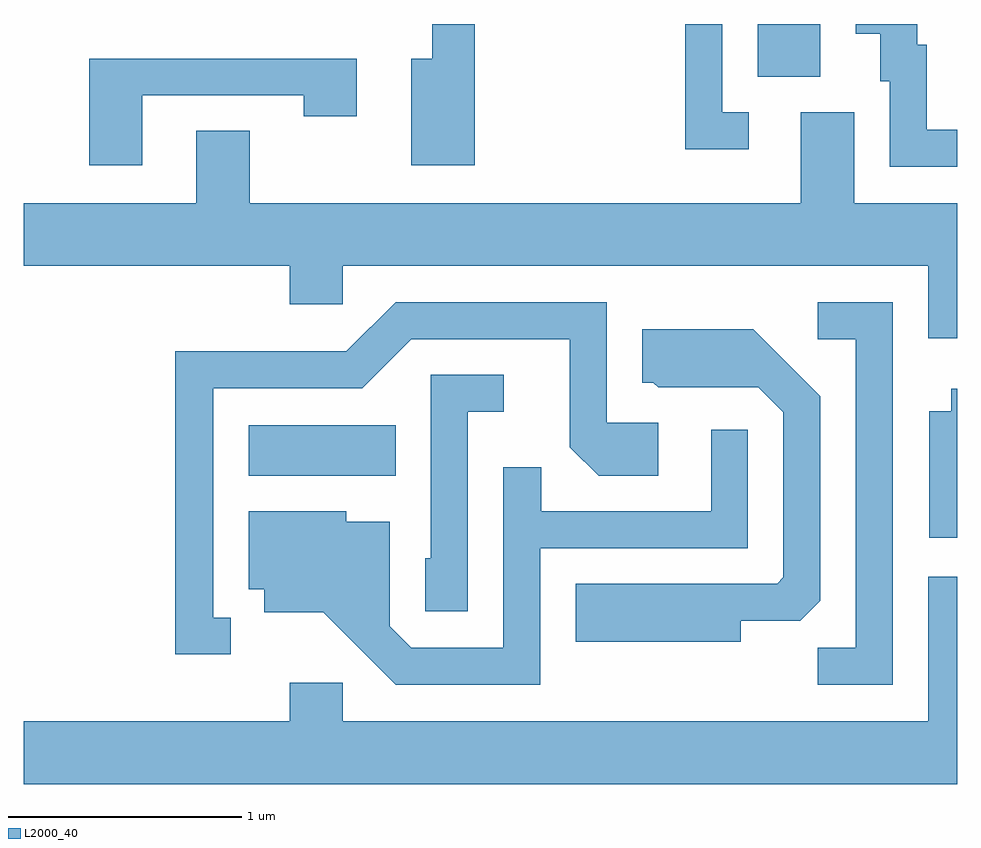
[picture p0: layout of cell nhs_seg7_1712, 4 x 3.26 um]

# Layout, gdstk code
import gdstk
lib = gdstk.Library(unit=1e-6, precision=1e-09)
def R(c, l, rs):  # rectangles x0, y0, x1, y1
    for r in rs: c.add(gdstk.rectangle(r[:2], r[2:], *l))
def P(c, l, *ps):  # polygons
    for p in ps: c.add(gdstk.Polygon(p, *l))
L2000_40 = (2000, 40)

nhs_seg7_1712 = lib.new_cell('nhs_seg7_1712')
R(nhs_seg7_1712, L2000_40, [(238.576,1702.316,239.204,1702.534), (240.756,1704.026,241.024,1704.252)])
P(nhs_seg7_1712, L2000_40, [(241.611,1703.799),(241.479,1703.799),(241.479,1704.164),(241.439,1704.164),(241.439,1704.252),(241.176,1704.252),(241.176,1704.211),(241.281,1704.211),(241.281,1704.006),(241.321,1704.006),(241.321,1703.641),(241.611,1703.641)],
  [(240.718,1703.874),(240.604,1703.874),(240.604,1704.252),(240.446,1704.252),(240.446,1703.716),(240.718,1703.716)],
  [(239.544,1704.252),(239.361,1704.252),(239.361,1704.104),(239.271,1704.104),(239.271,1703.646),(239.544,1703.646)],
  [(238.119,1703.946),(238.811,1703.946),(238.811,1703.856),(239.039,1703.856),(239.039,1704.104),(237.891,1704.104),(237.891,1703.646),(238.119,1703.646)],
  [(241.611,1703.484),(241.169,1703.484),(241.169,1703.874),(240.941,1703.874),(240.941,1703.484),(238.579,1703.484),(238.579,1703.794),(238.351,1703.794),(238.351,1703.484),(237.611,1703.484),(237.611,1703.216),(238.751,1703.216),(238.751,1703.051),(238.979,1703.051),(238.979,1703.216),(241.486,1703.216),(241.486,1702.906),(241.611,1702.906)],
  [(238.498,1701.709),(238.424,1701.709),(238.424,1702.691),(239.062,1702.691),(239.272,1702.901),(239.951,1702.901),(239.951,1702.439),(240.074,1702.316),(240.329,1702.316),(240.329,1702.544),(240.109,1702.544),(240.109,1703.059),(239.204,1703.059),(238.994,1702.849),(238.261,1702.849),(238.261,1701.551),(238.498,1701.551)],
  [(241.334,1703.059),(241.013,1703.059),(241.013,1702.901),(241.176,1702.901),(241.176,1701.579),(241.013,1701.579),(241.013,1701.421),(241.334,1701.421)],
  [(240.684,1701.696),(240.939,1701.696),(241.024,1701.782),(241.024,1702.657),(240.737,1702.944),(240.261,1702.944),(240.261,1702.716),(240.309,1702.716),(240.329,1702.696),(240.759,1702.696),(240.866,1702.589),(240.866,1701.882),(240.839,1701.854),(239.976,1701.854),(239.976,1701.606),(240.684,1701.606)],
  [(239.514,1702.591),(239.668,1702.591),(239.668,1702.749),(239.356,1702.749),(239.356,1701.964),(239.331,1701.964),(239.331,1701.736),(239.514,1701.736)],
  [(241.611,1702.689),(241.586,1702.689),(241.586,1702.594),(241.491,1702.594),(241.491,1702.051),(241.611,1702.051)],
  [(239.824,1702.006),(240.714,1702.006),(240.714,1702.513),(240.556,1702.513),(240.556,1702.164),(239.829,1702.164),(239.829,1702.353),(239.666,1702.353),(239.666,1701.579),(239.272,1701.579),(239.179,1701.672),(239.179,1702.119),(238.994,1702.119),(238.994,1702.164),(238.576,1702.164),(238.576,1701.831),(238.641,1701.831),(238.641,1701.731),(238.894,1701.731),(239.204,1701.421),(239.824,1701.421)],
  [(241.611,1701.884),(241.486,1701.884),(241.486,1701.264),(238.979,1701.264),(238.979,1701.429),(238.751,1701.429),(238.751,1701.264),(237.611,1701.264),(237.611,1700.996),(241.611,1700.996)])

lib.write_gds('nhs_seg7_1712.gds')
